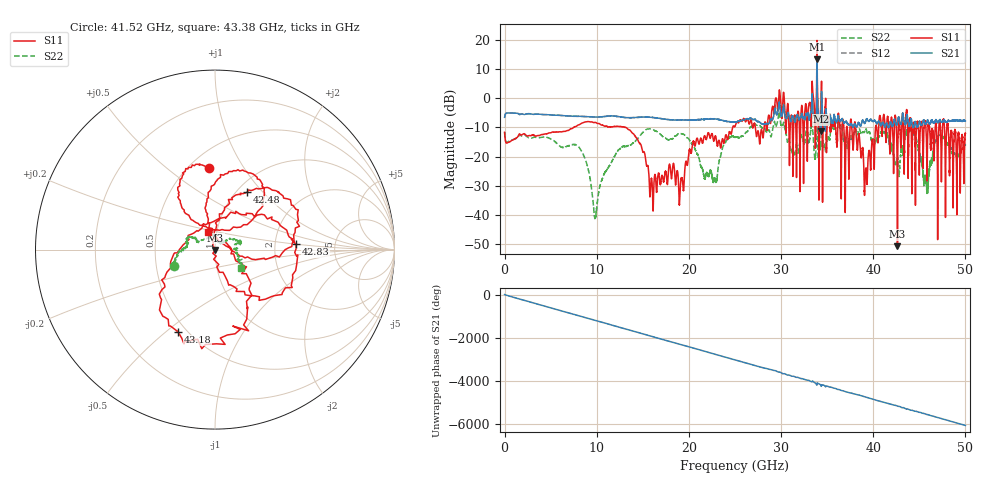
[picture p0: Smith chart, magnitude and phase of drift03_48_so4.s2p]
!Created with skrf (http://scikit-rf.org).
# Hz S RI R 50.0
!freq ReS11 ImS11 ReS21 ImS21 ReS12 ImS12 ReS22 ImS22
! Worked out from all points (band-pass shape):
!   10001 points, 300 kHz to 50 GHz, reference 50 ohm
!   highest |S21| = 13.32 dB at 33.9 GHz (marker M1); lowest = -11.4 dB at 34.32 GHz (marker M2)
!   |S21| within 3 dB of the highest: 33.89 GHz to 33.90484 GHz (14.85 MHz wide, 0.0438 % of centre)
!   lowest |S11| = -50.8 dB at 42.63 GHz (marker M3), VSWR 1.01, Z = 50.3 - j0.143 ohm
!   |S11| at or under -10 dB: start of sweep to 7.488 GHz; 13.13 GHz to 24.74 GHz (11.61 GHz wide, 61.3 % of centre); 38.09 GHz to 40.26 GHz (2.165 GHz wide, 5.53 % of centre) (the widest 3 of 47)
!   |S22| runs from -41.4 to 5.8 dB; largest |S21 - S12| = 0.35
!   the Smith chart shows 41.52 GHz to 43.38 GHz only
!   S11 on the Smith chart (normalised r, x): 41.52 GHz: 0.62, +0.72; 42.48 GHz: 1.11, +0.82; 42.83 GHz: 2.63, +0.20; 43.18 GHz: 0.45, -0.55; 43.38 GHz: 0.91, +0.18
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300000  -0.2327 -0.1164  0.4644 0.0774  0.4621 0.0779  -0.2324 -0.1245
1.440291e9  0.2098 0.0646  -0.5476 -0.0296  -0.5479 -0.0294  0.2114 -0.00414
2.915283e9  -0.2121 -0.0881  0.5342 0.0519  0.5344 0.0513  -0.202 0.0401
4.415274e9  0.2059 0.1322  -0.5215 -0.0425  -0.5219 -0.0423  0.1983 -0.0872
8.33525e9  0.2889 -0.2333  0.146 0.466  0.1456 0.4668  -0.0726 -0.1014
9.845241e9  -0.3636 0.1288  -0.1479 -0.4527  -0.1482 -0.4527  0.00873 0.00243
1.66702e10  0.0274 0.0437  -0.3785 0.2529  -0.3791 0.2527  -0.1276 -0.2202
2.500015e10  -0.3258 -0.0152  -0.2543 -0.2978  -0.2536 -0.2992  -0.2135 0.0263
2.895513e10  -0.326 0.4305  -0.2896 0.3251  -0.2992 0.2888  0.0646 0.2199
3.006512e10  0.4018 0.2685  0.4508 -0.1954  0.455 -0.1814  0.1755 -0.2967
3.171011e10  -0.0933 0.1881  -0.362 0.3578  -0.3617 0.3532  0.0649 0.1583
3.33351e10  0.6338 -0.8401  0.2451 -0.8546  0.2482 -0.8313  -0.1936 -0.4212
3.38951e10  -1.742 -9.67  -4.61 0.4815  -4.323 0.6783  0.3707 1.907
3.432009e10  -0.7784 -0.00111  -0.1809 0.199  -0.2423 0.1782  0.1429 -0.0725
4.151505e10  -0.0339 0.4571  0.3349 0.1243  0.34 0.1264  -0.2265 -0.0915
4.167005e10  -0.1999 0.3014  0.3156 0.00561  0.3166 0.0125  -0.1979 -0.00613
4.248005e10  0.1787 0.3197  0.0117 -0.3549  0.0171 -0.3561  -0.0306 0.0695
4.263004e10  0.00252 -0.00142  -0.1713 -0.3413  -0.1646 -0.345  -0.0227 0.0912
4.282504e10  0.4512 0.0302  -0.2494 -0.337  -0.2508 -0.3367  0.0378 0.0344
4.317504e10  -0.2057 -0.458  -0.5162 0.0797  -0.5188 0.0669  0.1389 0.0534
4.338004e10  -0.0365 0.0981  -0.3493 0.1565  -0.3491 0.1614  0.1474 -0.1009
5e10  -0.114 -0.2247  0.1421 0.3835  0.1407 0.3834  -0.0543 -0.1452
